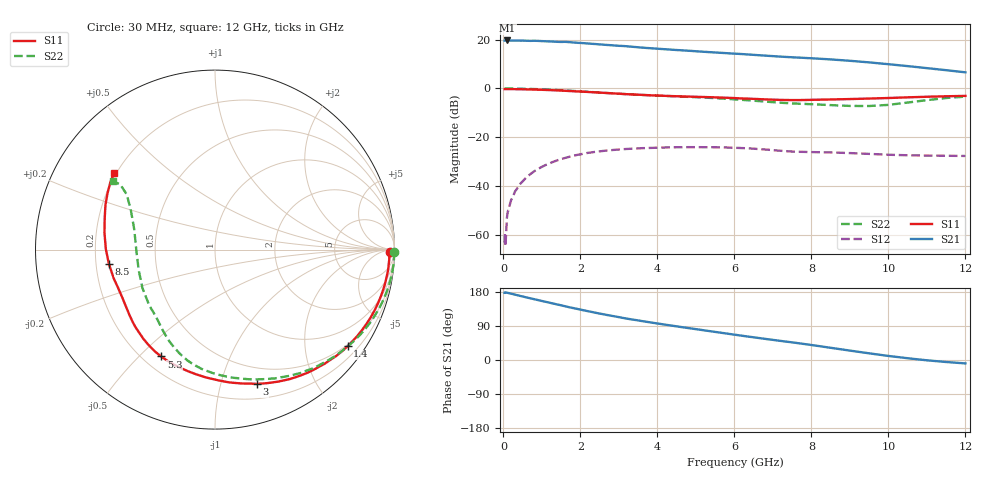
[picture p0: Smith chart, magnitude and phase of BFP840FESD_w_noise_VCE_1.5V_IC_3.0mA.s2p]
! Infineon Technologies  Discrete & RF Semiconductors
! BFP840FESD
! VCE =  1.5 V,  IC =  3.0 mA
! Common Emitter S-Parameters:  May 2012
# GHz  S  MA  R  50
!  f  S11  S21  S12  S22
! GHz  MAG  ANG  MAG  ANG  MAG  ANG  MAG  ANG
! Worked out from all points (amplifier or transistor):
!   103 points, 30 MHz to 12 GHz, reference 50 ohm
!   highest |S21| = 19.6 dB at 100 MHz (marker M1)
!   |S21| within 3 dB of that: start of sweep to 3.663 GHz
!   unconditionally stable (mu >= 1): 7.608 GHz to end of sweep
!   at 400 MHz: K = 0.01, MSG = 29.6 dB, |S12| = -39.7 dB
!   at 3.7 GHz: K = 0.27, MSG = 20.5 dB, |S12| = -24.4 dB
!   at 12 GHz: K = 1.41, MAG = 13.3 dB, |S12| = -27.6 dB
!   lowest NFmin = 0.51 dB at 450 MHz
!   S11 on the Smith chart (normalised r, x): 30 MHz: 60, -27; 1.4 GHz: 0.46, -3.01; 3 GHz: 0.34, -1.30; 5.3 GHz: 0.27, -0.58; 8.5 GHz: 0.25, -0.06; 12 GHz: 0.19, +0.33
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0.03  0.9726 -0.7  9.508 177.2  0.0007 98.5  0.9979 -0.7
0.04  0.9724 -1.0  9.505 177.1  0.0011 96.4  0.9984 -0.9
0.05  0.9716 -1.3  9.549 178.4  0.0006 -171.7  0.9985 -1.1
0.1  0.9727 -2.6  9.586 177.4  0.0026 90.2  0.9983 -2.3
0.3  0.9696 -7.9  9.538 172.5  0.0079 85.5  0.9952 -7.0
0.8  0.9514 -20.9  9.443 160.4  0.0204 74.5  0.9745 -18.5
1.4  0.9146 -36.1  8.99 146.5  0.0341 62.3  0.93 -32.4
1.6  0.8984 -41.3  8.987 141.9  0.0381 58.3  0.9119 -37.0
1.7  0.8888 -43.7  8.867 139.4  0.04 56.4  0.9023 -39.4
2.1  0.8578 -53.2  8.417 130.8  0.0469 48.9  0.8648 -48.5
2.5  0.8237 -62.2  7.968 122.5  0.052 41.9  0.8279 -56.9
3  0.7834 -72.8  7.445 113.1  0.0567 34.2  0.7829 -66.7
3.2  0.7658 -77.1  7.292 109.3  0.0581 31.4  0.7666 -70.4
4.1  0.7128 -94.5  6.42 94.8  0.0621 20.8  0.7101 -84.9
4.6  0.6902 -104.2  6.053 87.2  0.0631 15.8  0.6837 -92.1
5.3  0.6664 -116.7  5.568 77.0  0.0631 9.2  0.6463 -101.6
6.1  0.6311 -130.7  5.109 65.4  0.0611 2.3  0.5931 -112.3
7.1  0.5877 -148.0  4.531 51.7  0.0541 -3.4  0.5186 -126.3
8.5  0.5969 -172.5  3.931 32.2  0.0494 -2.0  0.4578 -151.9
9.5  0.623 171.3  3.417 17.6  0.0461 -1.7  0.4383 -179.3
10.5  0.6596 157.7  2.867 4.7  0.0432 2.2  0.5164 155.1
12  0.7055 142.7  2.14 -9.0  0.0418 10.9  0.6818 146.1
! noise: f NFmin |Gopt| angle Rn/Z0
0.45  0.51  0.62  7  0.22
0.9  0.57  0.59  13  0.22
1.5  0.62  0.54  20  0.21
1.9  0.64  0.5  28  0.21
2.4  0.67  0.47  35  0.22
3.5  0.69  0.45  54  0.2
5.5  0.79  0.34  90  0.15
8  1.02  0.29  149  0.12
10  1.24  0.31  -165  0.11
12  1.41  0.48  -132  0.14
